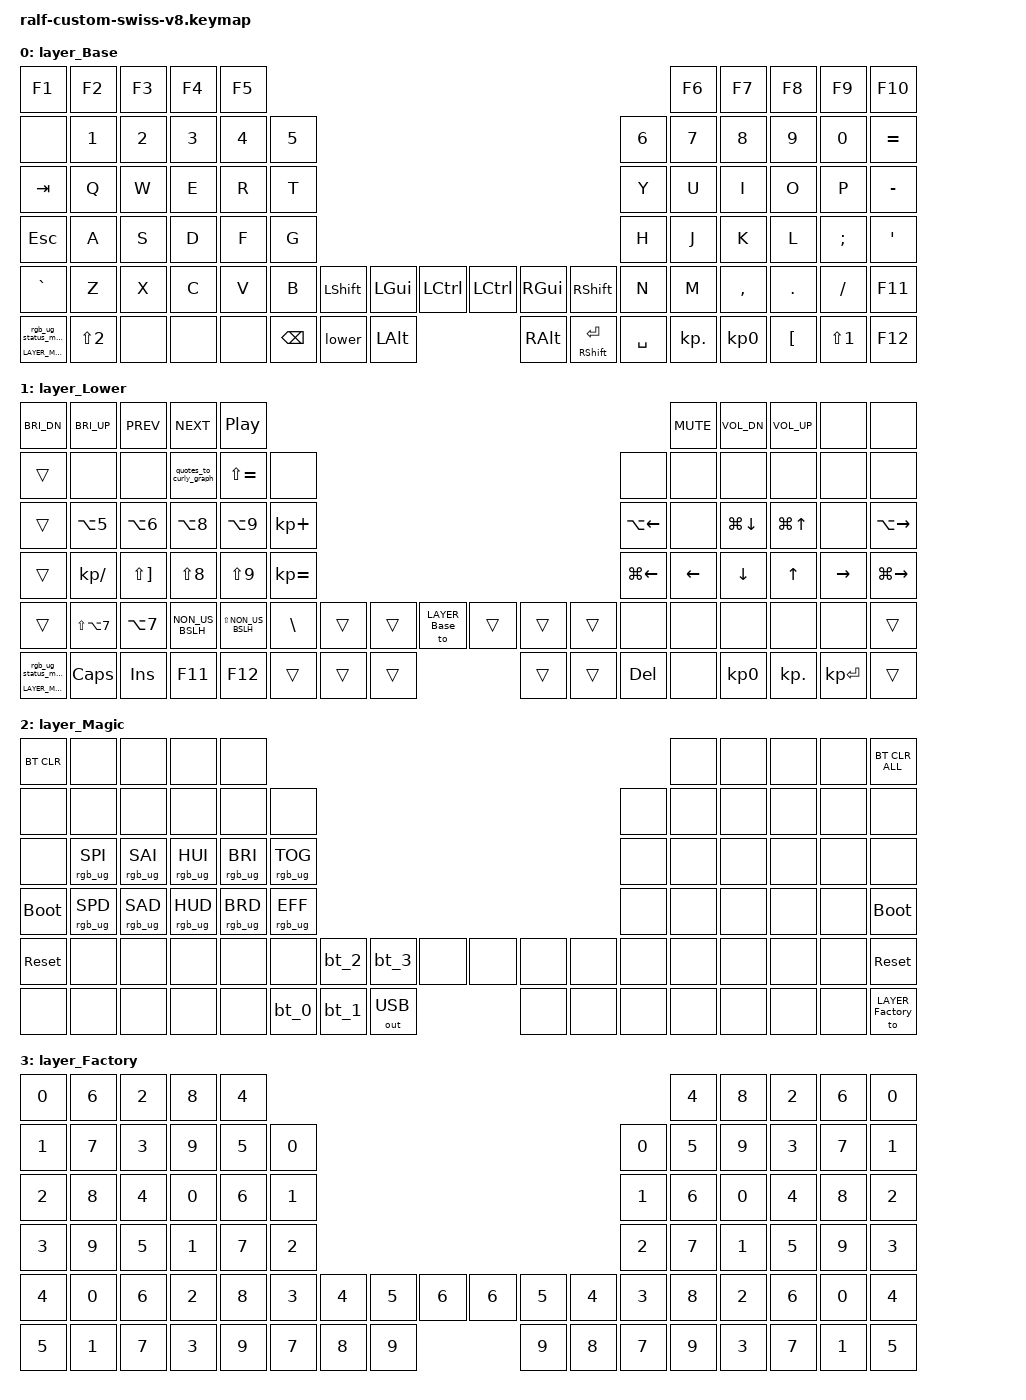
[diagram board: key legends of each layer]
/*
 * Copyright (c) 2020 The ZMK Contributors
 * Copyright (c) 2025 Innaworks Development Limited, trading as MoErgo
 *
 * SPDX-License-Identifier: MIT
 */


/* THIS FILE WAS GENERATED BY GLOVE80 LAYOUT EDITOR
 *
 * This file was generated automatically. You may or may not want to
 * edit it directly.
 */

#include <behaviors.dtsi>
/* Include all behavior includes needed */
#include <dt-bindings/zmk/outputs.h>
#include <dt-bindings/zmk/keys.h>
#include <dt-bindings/zmk/bt.h>
#include <dt-bindings/zmk/rgb.h>

/* On demand includes */


/* Helper Macros, based on https://github.com/urob/zmk-helpers/ */

#pragma once

#define ZMK_HELPER_STRINGIFY(x) #x

// Preprocessor mechanism to overload macros, cf. https://stackoverflow.com/a/27051616/6114651
#define VARGS_(_10, _9, _8, _7, _6, _5, _4, _3, _2, _1, N, ...) N
#define VARGS(...) VARGS_(__VA_ARGS__, 10, 9, 8, 7, 6, 5, 4, 3, 2, 1, 0)
#define CONCAT_(a, b) a##b
#define CONCAT(a, b) CONCAT_(a, b)

#define ZMK_BEHAVIOR_CORE_tap_dance  \
    compatible = "zmk,behavior-tap-dance"; \
    #binding-cells = <0>

#define ZMK_BEHAVIOR(name, type, ...) \
    name: name { \
        ZMK_BEHAVIOR_CORE_ ## type; \
        __VA_ARGS__ \
    };

#define ZMK_TAP_DANCE(name, ...) \
    ZMK_BEHAVIOR(name, tap_dance, __VA_ARGS__)

#define ZMK_TD_LAYER(name, layer) \
    ZMK_TAP_DANCE(name, \
        tapping-term-ms = <200>; \
        bindings = <&mo layer>, <&to layer>; \
)

/* Environment and metadata defines */
#define KB_TYPE_GLOVE_80 1
#define KB_TYPE_GO_60    2

#define KB_TYPE          KB_TYPE_GLOVE_80
#define EDITOR_HOST_OS   'M'

/* Automatically generated layer name defines */
#define LAYER_Base 0
#define LAYER_Lower 1
#define LAYER_Magic 2
#define LAYER_Factory 3

/* To deal with the situation where there is no Lower layer, to keep &lower happy */
#ifndef LAYER_Lower
#define LAYER_Lower 0
#endif

/* Custom Device-tree */


/* Input Listeners */


/* System behavior and Macros */
/ {
    behaviors {
        ZMK_TD_LAYER(lower, LAYER_Lower)
    };
};

/ {
    macros {
        rgb_ug_status_macro: rgb_ug_status_macro {
            label = "RGB_UG_STATUS";
            compatible = "zmk,behavior-macro";
            #binding-cells = <0>;
            bindings
                = <&rgb_ug RGB_STATUS>;
        };
    };
};


/ {
#ifdef BT_DISC_CMD
    behaviors {
        bt_0: bt_0 {
            compatible = "zmk,behavior-tap-dance";
            label = "BT_0";
            #binding-cells = <0>;
            tapping-term-ms = <200>;
            bindings = <&bt_select_0>, <&bt BT_DISC 0>;
        };
        bt_1: bt_1 {
            compatible = "zmk,behavior-tap-dance";
            label = "BT_1";
            #binding-cells = <0>;
            tapping-term-ms = <200>;
            bindings = <&bt_select_1>, <&bt BT_DISC 1>;
        };
        bt_2: bt_2 {
            compatible = "zmk,behavior-tap-dance";
            label = "BT_2";
            #binding-cells = <0>;
            tapping-term-ms = <200>;
            bindings = <&bt_select_2>, <&bt BT_DISC 2>;
        };
        bt_3: bt_3 {
            compatible = "zmk,behavior-tap-dance";
            label = "BT_3";
            #binding-cells = <0>;
            tapping-term-ms = <200>;
            bindings = <&bt_select_3>, <&bt BT_DISC 3>;
        };
    };
    macros {
        bt_select_0: bt_select_0 {
            label = "BT_SELECT_0";
            compatible = "zmk,behavior-macro";
            #binding-cells = <0>;
            bindings
                = <&out OUT_BLE>,
                  <&bt BT_SEL 0>;
        };
        bt_select_1: bt_select_1 {
            label = "BT_SELECT_1";
            compatible = "zmk,behavior-macro";
            #binding-cells = <0>;
            bindings
                = <&out OUT_BLE>,
                  <&bt BT_SEL 1>;
        };
        bt_select_2: bt_select_2 {
            label = "BT_SELECT_2";
            compatible = "zmk,behavior-macro";
            #binding-cells = <0>;
            bindings
                = <&out OUT_BLE>,
                  <&bt BT_SEL 2>;
        };
        bt_select_3: bt_select_3 {
            label = "BT_SELECT_3";
            compatible = "zmk,behavior-macro";
            #binding-cells = <0>;
            bindings
                = <&out OUT_BLE>,
                  <&bt BT_SEL 3>;
        };
    };
#else
    macros {
        bt_0: bt_0 {
            label = "BT_0";
            compatible = "zmk,behavior-macro";
            #binding-cells = <0>;
            bindings
                = <&out OUT_BLE>,
                  <&bt BT_SEL 0>;
        };
        bt_1: bt_1 {
            label = "BT_1";
            compatible = "zmk,behavior-macro";
            #binding-cells = <0>;
            bindings
                = <&out OUT_BLE>,
                  <&bt BT_SEL 1>;
        };
        bt_2: bt_2 {
            label = "BT_2";
            compatible = "zmk,behavior-macro";
            #binding-cells = <0>;
            bindings
                = <&out OUT_BLE>,
                  <&bt BT_SEL 2>;
        };
        bt_3: bt_3 {
            label = "BT_3";
            compatible = "zmk,behavior-macro";
            #binding-cells = <0>;
            bindings
                = <&out OUT_BLE>,
                  <&bt BT_SEL 3>;
        };
    };
#endif
};

/ {
    behaviors {
        magic: magic {
            compatible = "zmk,behavior-hold-tap";
            label = "MAGIC_HOLD_TAP";
            #binding-cells = <2>;
            flavor = "tap-preferred";
            tapping-term-ms = <200>;
            bindings = <&mo>, <&rgb_ug_status_macro>;
        };
    };
};


/* Locale-specific keycodes */

#define DE_SECT GRAVE
#define DE_APOS MINUS
#define DE_CARET EQUAL
#define DE_Q Q
#define DE_E E
#define DE_Y Z
#define DE_U_UMLAUT LEFT_BRACKET
#define DE_UMLAUT RIGHT_BRACKET
#define DE_OE SEMICOLON
#define DE_AE SINGLE_QUOTE
#define DE_DLLR BACKSLASH
#define DE_Z Y
#define DE_LT NON_US_BACKSLASH
#define DE_COMMA COMMA
#define DE_DOT PERIOD
#define DE_MINUS SLASH
#define DE_N1 N1
#define DE_N2 N2
#define DE_N3 N3
#define DE_N4 N4
#define DE_N5 N5
#define DE_N6 N6
#define DE_N7 N7
#define DE_N8 N8
#define DE_N9 N9
#define DE_N0 N0


/* Key positions */

#define POS_LH_C6R1 0
#define POS_LH_C5R1 1
#define POS_LH_C4R1 2
#define POS_LH_C3R1 3
#define POS_LH_C2R1 4
#define POS_RH_C2R1 5
#define POS_RH_C3R1 6
#define POS_RH_C4R1 7
#define POS_RH_C5R1 8
#define POS_RH_C6R1 9
#define POS_LH_C6R2 10
#define POS_LH_C5R2 11
#define POS_LH_C4R2 12
#define POS_LH_C3R2 13
#define POS_LH_C2R2 14
#define POS_LH_C1R2 15
#define POS_RH_C1R2 16
#define POS_RH_C2R2 17
#define POS_RH_C3R2 18
#define POS_RH_C4R2 19
#define POS_RH_C5R2 20
#define POS_RH_C6R2 21
#define POS_LH_C6R3 22
#define POS_LH_C5R3 23
#define POS_LH_C4R3 24
#define POS_LH_C3R3 25
#define POS_LH_C2R3 26
#define POS_LH_C1R3 27
#define POS_RH_C1R3 28
#define POS_RH_C2R3 29
#define POS_RH_C3R3 30
#define POS_RH_C4R3 31
#define POS_RH_C5R3 32
#define POS_RH_C6R3 33
#define POS_LH_C6R4 34
#define POS_LH_C5R4 35
#define POS_LH_C4R4 36
#define POS_LH_C3R4 37
#define POS_LH_C2R4 38
#define POS_LH_C1R4 39
#define POS_RH_C1R4 40
#define POS_RH_C2R4 41
#define POS_RH_C3R4 42
#define POS_RH_C4R4 43
#define POS_RH_C5R4 44
#define POS_RH_C6R4 45
#define POS_LH_C6R5 46
#define POS_LH_C5R5 47
#define POS_LH_C4R5 48
#define POS_LH_C3R5 49
#define POS_LH_C2R5 50
#define POS_LH_C1R5 51
#define POS_LH_T1 52
#define POS_LH_T2 53
#define POS_LH_T3 54
#define POS_RH_T3 55
#define POS_RH_T2 56
#define POS_RH_T1 57
#define POS_RH_C1R5 58
#define POS_RH_C2R5 59
#define POS_RH_C3R5 60
#define POS_RH_C4R5 61
#define POS_RH_C5R5 62
#define POS_RH_C6R5 63
#define POS_LH_C6R6 64
#define POS_LH_C5R6 65
#define POS_LH_C4R6 66
#define POS_LH_C3R6 67
#define POS_LH_C2R6 68
#define POS_LH_T4 69
#define POS_LH_T5 70
#define POS_LH_T6 71
#define POS_RH_T6 72
#define POS_RH_T5 73
#define POS_RH_T4 74
#define POS_RH_C2R6 75
#define POS_RH_C3R6 76
#define POS_RH_C4R6 77
#define POS_RH_C5R6 78
#define POS_RH_C6R6 79


/* Custom Defined Behaviors */
/ {

};

/* Generated input processors */


/* Automatically generated macro definitions */
/ {
    macros {

        quotes_to_curly_graph: quotes_to_curly_graph {
            label = "&QUOTES_TO_CURLY_GRAPH";
            compatible = "zmk,behavior-macro";
            #binding-cells = <0>;
            bindings = <&kp C>
                , <&kp S>
                , <&kp LS(N2)>
                , <&kp LS(EQUAL)>
                , <&kp SPACE>
                , <&kp Z>
                , <&kp S>
                , <&kp A>
                , <&kp LS(EQUAL)>
                , <&kp SPACE>
                , <&kp LA(N8)>;
        };
    };
};

/* Automatically generated behavior definitions */
/ {
    behaviors {


    };
};

/* Automatically generated combos definitions */


/* Automatically generated keymap */
/ {
    keymap {
        compatible = "zmk,keymap";


        layer_Base {
            bindings = <
               &kp F1      &kp F2  &kp F3  &kp F4  &kp F5                                                                                           &kp F6     &kp F7    &kp F8      &kp F9    &kp F10
                &none      &kp N1  &kp N2  &kp N3  &kp N4  &kp N5                                                                       &kp N6      &kp N7     &kp N8    &kp N9      &kp N0  &kp EQUAL
              &kp TAB       &kp Q   &kp W   &kp E   &kp R   &kp T                                                                        &kp Y       &kp U      &kp I     &kp O       &kp P  &kp MINUS
              &kp ESC       &kp A   &kp S   &kp D   &kp F   &kp G                                                                        &kp H       &kp J      &kp K     &kp L    &kp SEMI    &kp SQT
            &kp GRAVE       &kp Z   &kp X   &kp C   &kp V   &kp B  &kp LSHFT  &kp LGUI  &kp LCTRL  &kp LCTRL       &kp RGUI  &kp RSHFT   &kp N       &kp M  &kp COMMA   &kp DOT    &kp FSLH    &kp F11
 &magic LAYER_Magic 0  &kp LS(N2)   &none   &none   &none           &kp BSPC    &lower   &kp LALT   &kp RALT  &mt RSHFT RET  &kp SPACE          &kp KP_DOT  &kp KP_N0  &kp LBKT  &kp LS(N1)    &kp F12
            >;
        };

        layer_Lower {
            bindings = <
         &kp C_BRI_DN    &kp C_BRI_UP    &kp C_PREV              &kp C_NEXT             &kp C_PP                                                                                       &kp C_MUTE  &kp C_VOL_DN  &kp C_VOL_UP         &none          &none
               &trans           &none         &none  &quotes_to_curly_graph        &kp LS(EQUAL)         &none                                                                  &none       &none         &none         &none         &none          &none
               &trans      &kp LA(N5)    &kp LA(N6)              &kp LA(N8)           &kp LA(N9)   &kp KP_PLUS                                                           &kp LA(LEFT)       &none  &kp LG(DOWN)    &kp LG(UP)         &none  &kp LA(RIGHT)
               &trans    &kp KP_SLASH  &kp LS(RBKT)              &kp LS(N8)           &kp LS(N9)  &kp KP_EQUAL                                                           &kp LG(LEFT)    &kp LEFT      &kp DOWN        &kp UP     &kp RIGHT  &kp LG(RIGHT)
               &trans  &kp LS(LA(N7))    &kp LA(N7)         &kp NON_US_BSLH  &kp LS(NON_US_BSLH)      &kp BSLH  &trans  &trans  &to LAYER_Base  &trans  &trans   &trans         &none       &none         &none         &none         &none         &trans
 &magic LAYER_Magic 0        &kp CAPS       &kp INS                 &kp F11              &kp F12                &trans  &trans          &trans  &trans  &trans  &kp DEL                     &none     &kp KP_N0    &kp KP_DOT  &kp KP_ENTER         &trans
            >;
        };

        layer_Magic {
            bindings = <
  &bt BT_CLR            &none            &none            &none            &none                                                                                  &none   &none   &none   &none     &bt BT_CLR_ALL
       &none            &none            &none            &none            &none            &none                                                         &none   &none   &none   &none   &none              &none
       &none  &rgb_ug RGB_SPI  &rgb_ug RGB_SAI  &rgb_ug RGB_HUI  &rgb_ug RGB_BRI  &rgb_ug RGB_TOG                                                         &none   &none   &none   &none   &none              &none
 &bootloader  &rgb_ug RGB_SPD  &rgb_ug RGB_SAD  &rgb_ug RGB_HUD  &rgb_ug RGB_BRD  &rgb_ug RGB_EFF                                                         &none   &none   &none   &none   &none        &bootloader
  &sys_reset            &none            &none            &none            &none            &none   &bt_2   &bt_3         &none   &none   &none   &none   &none   &none   &none   &none   &none         &sys_reset
       &none            &none            &none            &none            &none                    &bt_0   &bt_1  &out OUT_USB   &none   &none   &none           &none   &none   &none   &none  &to LAYER_Factory
            >;
        };

        layer_Factory {
            bindings = <
 &kp NUMBER_0  &kp NUMBER_6  &kp NUMBER_2  &kp NUMBER_8  &kp NUMBER_4                                                                                                                  &kp NUMBER_4  &kp NUMBER_8  &kp NUMBER_2  &kp NUMBER_6  &kp NUMBER_0
 &kp NUMBER_1  &kp NUMBER_7  &kp NUMBER_3  &kp NUMBER_9  &kp NUMBER_5  &kp NUMBER_0                                                                                      &kp NUMBER_0  &kp NUMBER_5  &kp NUMBER_9  &kp NUMBER_3  &kp NUMBER_7  &kp NUMBER_1
 &kp NUMBER_2  &kp NUMBER_8  &kp NUMBER_4  &kp NUMBER_0  &kp NUMBER_6  &kp NUMBER_1                                                                                      &kp NUMBER_1  &kp NUMBER_6  &kp NUMBER_0  &kp NUMBER_4  &kp NUMBER_8  &kp NUMBER_2
 &kp NUMBER_3  &kp NUMBER_9  &kp NUMBER_5  &kp NUMBER_1  &kp NUMBER_7  &kp NUMBER_2                                                                                      &kp NUMBER_2  &kp NUMBER_7  &kp NUMBER_1  &kp NUMBER_5  &kp NUMBER_9  &kp NUMBER_3
 &kp NUMBER_4  &kp NUMBER_0  &kp NUMBER_6  &kp NUMBER_2  &kp NUMBER_8  &kp NUMBER_3  &kp NUMBER_4  &kp NUMBER_5  &kp NUMBER_6  &kp NUMBER_6  &kp NUMBER_5  &kp NUMBER_4  &kp NUMBER_3  &kp NUMBER_8  &kp NUMBER_2  &kp NUMBER_6  &kp NUMBER_0  &kp NUMBER_4
 &kp NUMBER_5  &kp NUMBER_1  &kp NUMBER_7  &kp NUMBER_3  &kp NUMBER_9                &kp NUMBER_7  &kp NUMBER_8  &kp NUMBER_9  &kp NUMBER_9  &kp NUMBER_8  &kp NUMBER_7                &kp NUMBER_9  &kp NUMBER_3  &kp NUMBER_7  &kp NUMBER_1  &kp NUMBER_5
            >;
        };

    };
};
